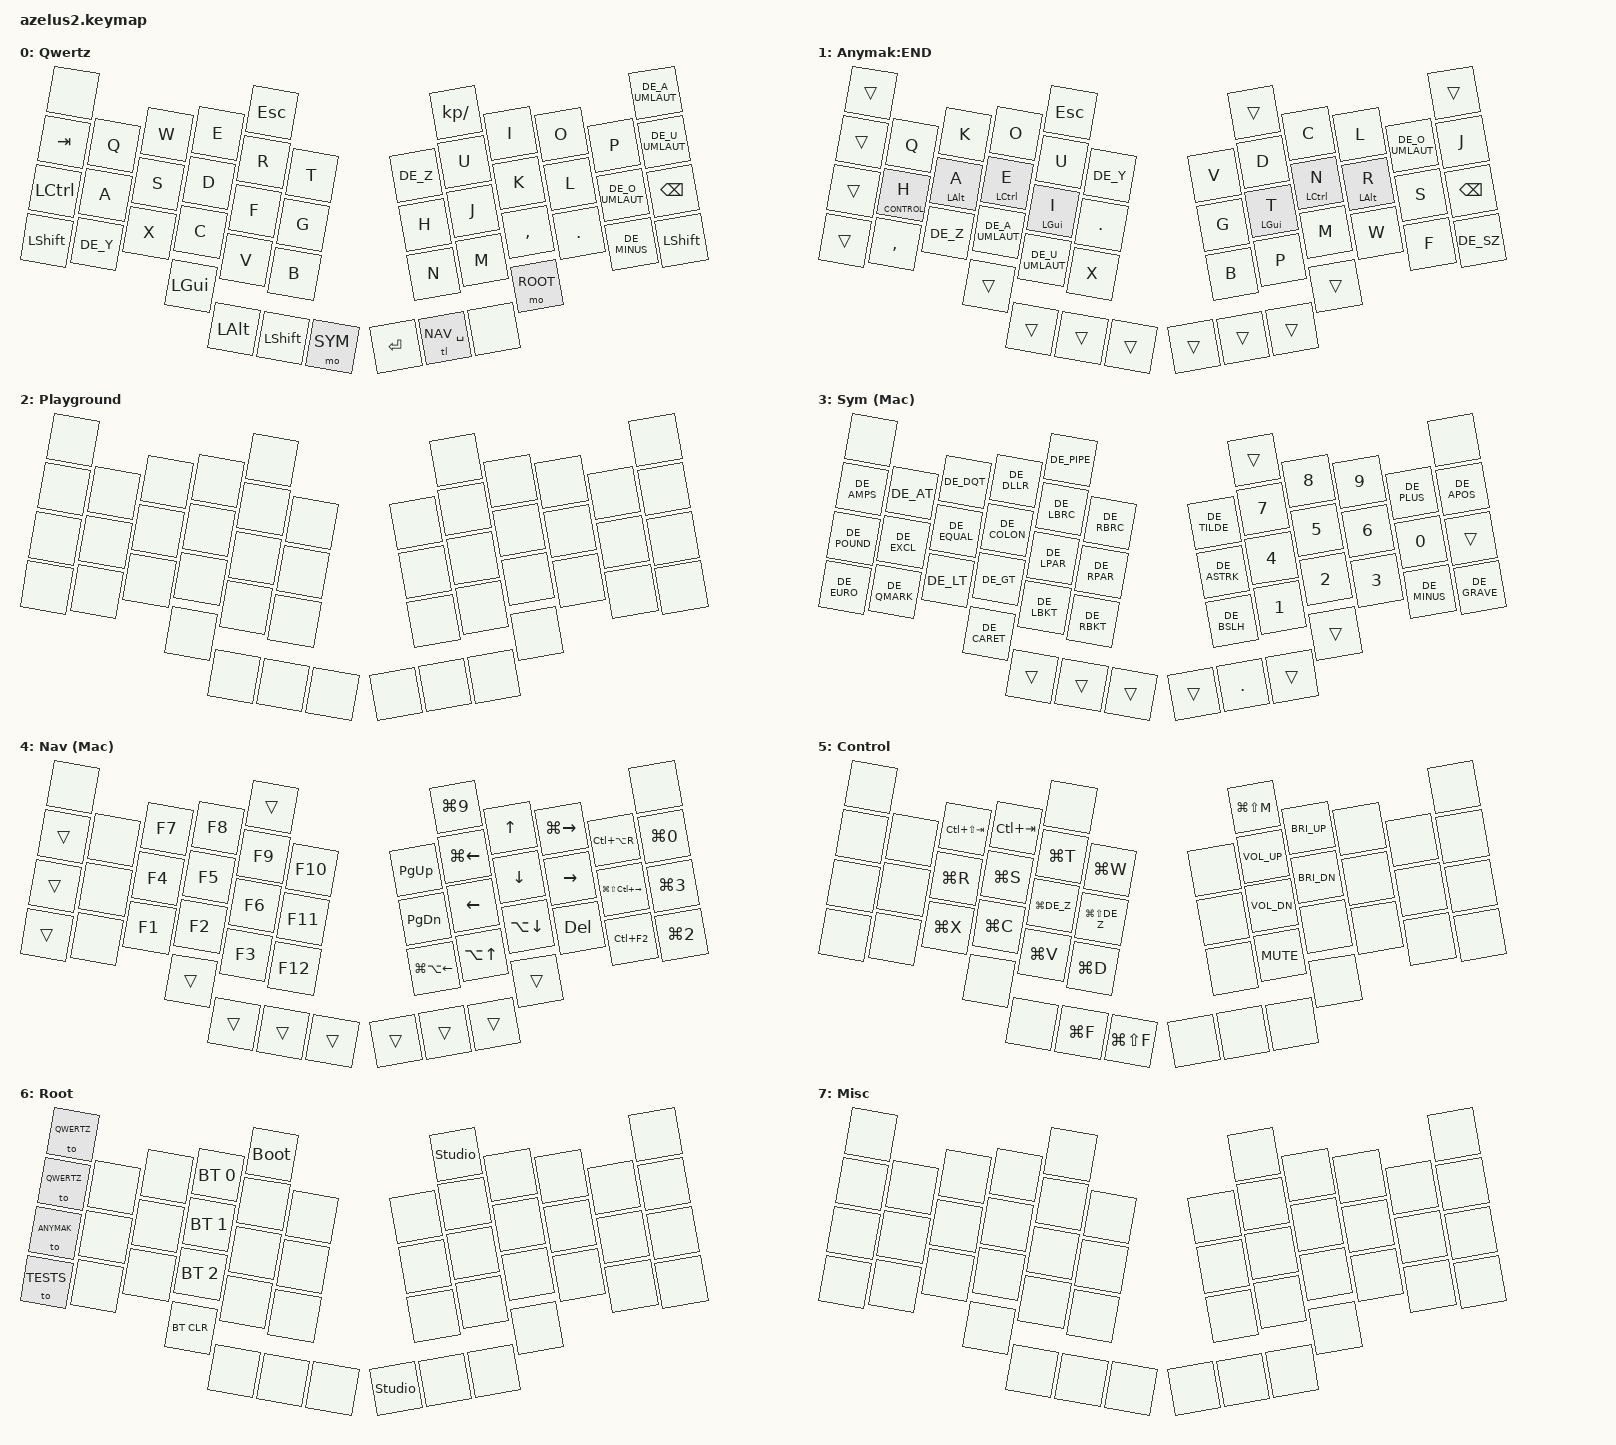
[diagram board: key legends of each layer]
#include <behaviors.dtsi>
#include <dt-bindings/zmk/bt.h>
#include <dt-bindings/zmk/keys.h>
#include "keys_de.h"
#include "key-labels.h"

#define QWERTZ  0
#define ANYMAK  1
#define TESTS   2
#define SYM     3
#define NAV     4
#define CONTROL 5
#define ROOT    6
#define MISC    7

#define xxxx &none
#define ____ &trans

#define KEYS_L LN2 LN6 LT1 LT2 LT3 LT4 LT5 LT6 LM1 LM2 LM3 LM4 LM5 LM6 LB1 LB2 LB3 LB4 LB5 LB6  // left hand
#define KEYS_R RN2 RN6 RT1 RT2 RT3 RT4 RT5 RT6 RM1 RM2 RM3 RM4 RM5 RM6 RB1 RB2 RB3 RB4 RB5 RB6  // right hand
#define THUMBS LH0 LH1 LH2 LH3 RH0 RH1 RH2 RH3                                                  // thumbs

#define COMBO_TIMEOUT 30  // default=50

/* use balanced flavor for both mod-tap and layer-tap */
&mt {
    flavor = "balanced";
};
&lt {
    flavor = "balanced";
};

/{
    behaviors {
         hmr: name {
             label = "HomeRowModR";
             compatible = "zmk,behavior-hold-tap";
             flavor = "balanced";
             tapping-term-ms = <280>;
             require-prior-idle-ms = <150>;
             hold-trigger-key-positions = <KEYS_R THUMBS>;
             hold-trigger-on-release;
             #binding-cells = <2>;
             bindings = <&kp>, <&kp>;
        };
    };
    behaviors {
         hml: name {
             label = "HomeRowModL";
             compatible = "zmk,behavior-hold-tap";
             flavor = "balanced";
             tapping-term-ms = <280>;
             require-prior-idle-ms = <150>;
             hold-trigger-key-positions = <KEYS_L THUMBS>;
             hold-trigger-on-release;
             #binding-cells = <2>;
             bindings = <&kp>, <&kp>;
         };
     };

    // Special (timerless) layer-tap. Triggers hold when right-hand keys are pressed to reduce misfires with backspace and arrows (on NAV layer).
    timerless_layer_tap {
         tllt: tllt {
             label = "Layer-Tap(tl)";
             compatible = "zmk,behavior-hold-tap";
             flavor = "hold-preferred"; // balanced, tap-preferred
             tapping-term-ms = <280>;
             quick-tap-ms = <150>;
             require-prior-idle-ms = <50>;
             hold-trigger-key-positions = <KEYS_R>;
             hold-trigger-on-release;
             #binding-cells = <2>;
             bindings = <&mo>, <&kp>;
        };
    };

    tap_dances {
        shifty: shift_caps_word {
            compatible = "zmk,behavior-tap-dance";
            label = "Shift_Capsword";
            #binding-cells = <0>;
            tapping-term-ms = <175>;
            bindings = <&kp LSHFT>, <&caps_word>;
        };
    };

};

#define SPACE_NAV       &tl NAV SPACE

// base
#define MUTE_MIC        &kp LG(LS(M))
#define TOG_DESK_LIGHT  &kp LG(LC(LA(E)))

// nav
#define APP_MENU        &kp LC(F2)
#define START_OF_LINE   &kp LG(LEFT)
#define END_OF_LINE     &kp LG(RIGHT)

#define IJ_NEXT_ERROR   &kp LG(LS(LC(RIGHT)))
#define IJ_RUN          &kp LC(LA(R))
#define IJ_NAV_BACK     &kp LG(LA(LEFT))
#define IJ_EXPAND_SEL   &kp LA(UP)
#define IJ_SHRINK_SEL   &kp LA(DOWN)
#define IJ_TERMINAL     &kp LG(N3)
#define IJ_PROJECT      &kp LG(N0)
#define IJ_EDITOR       &kp LG(N9)
#define IJ_COMMIT       &kp LG(N2)

// control
#define NEXT_TAB        &kp LC(LS(TAB))
#define PREV_TAB        &kp LC(TAB)
#define NEW_TAB         &kp LG(T)
#define CLOSE_TAB       &kp LG(W)

#define RELOAD          &kp LG(R)
#define SAVE            &kp LG(S)
#define UNDO            &kp LG(DE_Z)
#define REDO            &kp LG(LS(DE_Z))

#define FIND            &kp LG(F)
#define IJ_FIND         &kp LG(LS(F))
#define CUT             &kp LG(X)
#define COPY            &kp LG(C)
#define PASTE           &kp LG(V)
#define IJ_DEL_LINE     &kp LG(D)

/ {
    keymap {
        compatible = "zmk,keymap";


        base {
            bindings = <
xxxx                                  &kp ESC                                                          &kp KP_SLASH                                            &kp DE_A_UMLAUT
&kp TAB    &kp Q    &kp W   &kp E     &kp R      &kp T                                       &kp DE_Z  &kp U        &kp I        &kp O        &kp P            &kp DE_U_UMLAUT
&kp LCTRL  &kp A    &kp S   &kp D     &kp F      &kp G                                       &kp H     &kp J        &kp K        &kp L        &kp DE_O_UMLAUT  &kp BSPC
&kp LSHFT  &kp DE_Y &kp X   &kp C     &kp V      &kp B                                       &kp N     &kp M        &kp COMMA    &kp DOT      &kp DE_MINUS     &kp LSHFT
                            &kp LGUI  &kp LALT   &kp LSHFT  &mo SYM                &kp RET   SPACE_NAV xxxx         &mo ROOT
            >;
            display-name = "Qwertz";
        };

        base2 {
            bindings = <
____                                                      &kp ESC                                                                ____                                                         ____
____    &kp Q              &kp K         &kp O            &kp U            &kp DE_Y                                    &kp V     &kp D         &kp C          &kp L         &kp DE_O_UMLAUT   &kp J
____    &lt CONTROL H      &hml LALT A   &hml LCTRL E     &hml LGUI I      &kp DOT                                     &kp G     &hmr LGUI T   &hmr LCTRL N   &hmr LALT R   &kp S             &kp BSPC
____    &kp COMMA          &kp DE_Z      &kp DE_A_UMLAUT  &kp DE_U_UMLAUT  &kp X                                       &kp B     &kp P         &kp M          &kp W         &kp F             &kp DE_SZ
                                         ____             ____             ____     ____               ____    ____    ____      ____
            >;
            display-name = "Anymak:END";
        };


        base3 {
            bindings = <
 xxxx                     xxxx                                  xxxx                    xxxx
 xxxx   xxxx  xxxx  xxxx  xxxx  xxxx                      xxxx  xxxx  xxxx  xxxx  xxxx  xxxx
 xxxx   xxxx  xxxx  xxxx  xxxx  xxxx                      xxxx  xxxx  xxxx  xxxx  xxxx  xxxx
 xxxx   xxxx  xxxx  xxxx  xxxx  xxxx                      xxxx  xxxx  xxxx  xxxx  xxxx  xxxx
                    xxxx  xxxx  xxxx  xxxx          xxxx  xxxx  xxxx  xxxx
              >;
            display-name = "Playground";
        };

        sym {
            bindings = <
xxxx                                                        &kp DE_PIPE                                                                  ____                                     xxxx
&kp DE_AMPS  &kp DE_AT      &kp DE_DQT      &kp DE_DLLR     &kp DE_LBRC    &kp DE_RBRC                                   &kp DE_TILDE    &kp N7   &kp N8   &kp N9   &kp DE_PLUS   &kp DE_APOS
&kp DE_POUND &kp DE_EXCL    &kp DE_EQUAL    &kp DE_COLON    &kp DE_LPAR    &kp DE_RPAR                                   &kp DE_ASTRK    &kp N4   &kp N5   &kp N6   &kp N0        ____
&kp DE_EURO  &kp DE_QMARK   &kp DE_LT       &kp DE_GT       &kp DE_LBKT    &kp DE_RBKT                                   &kp DE_BSLH     &kp N1   &kp N2   &kp N3   &kp DE_MINUS  &kp DE_GRAVE
                                            &kp DE_CARET    ____           ____         ____             ____   &kp DOT  ____            ____
            >;
            display-name = "Sym (Mac)";
        };

        nav {
            bindings = <
xxxx                              ____                                                                &kp LG(N9)                                                                xxxx
                                                                                                         //IJ: Editor
____   xxxx   &kp F7    &kp F8    &kp F9    &kp F10                                &kp PG_UP          &kp LG(LEFT)     &kp UP           &kp LG(RIGHT)   &kp LC(LA(R))           &kp LG(N0)
                                                                                                         //StartOfLine                     //EndOfLine     //IJ: Run               //IJ: Project
____   xxxx   &kp F4    &kp F5    &kp F6    &kp F11                                &kp PG_DN          &kp LEFT         &kp DOWN         &kp RIGHT       &kp LG(LS(LC(RIGHT)))   &kp LG(N3)
                                                                                                                                                           //IJ: Next Error        //IJ: Terminal
____   xxxx   &kp F1    &kp F2    &kp F3    &kp F12                                &kp LG(LA(LEFT))   &kp LA(UP)       &kp LA(DOWN)     &kp DEL         &kp LC(F2)              &kp LG(N2)
                                                                                      //IJ: Nav back     //IJ: ExpandSel  //IJ: ShrinkSel                  // Menu                 //IJ: Commit
                        ____      ____      ____    ____              ____         ____               ____             ____
            >;
            display-name = "Nav (Mac)";

        };

        control {
            bindings = <
 xxxx                                 xxxx                                                             MUTE_MIC                                        xxxx
 xxxx    xxxx   NEXT_TAB   PREV_TAB   NEW_TAB    CLOSE_TAB                                   xxxx      &kp K_VOL_UP    &kp C_BRI_UP    xxxx    xxxx    xxxx
 xxxx    xxxx   RELOAD     SAVE       UNDO       REDO                                        xxxx      &kp K_VOL_DN    &kp C_BRI_DN    xxxx    xxxx    xxxx
 xxxx    xxxx   CUT        COPY       PASTE      IJ_DEL_LINE                                 xxxx      &kp K_MUTE      xxxx            xxxx    xxxx    xxxx
                           xxxx       xxxx       FIND         IJ_FIND                xxxx    xxxx      xxxx            xxxx
            >;
            display-name = "Control";
        };

        root {
            bindings = <
 &to QWERTZ                                      &bootloader                                                &studio_unlock              xxxx
 &to QWERTZ   xxxx    xxxx         &bt BT_SEL 0  xxxx         xxxx                                   xxxx   xxxx   xxxx   xxxx   xxxx   xxxx
 &to ANYMAK   xxxx    xxxx         &bt BT_SEL 1  xxxx         xxxx                                   xxxx   xxxx   xxxx   xxxx   xxxx   xxxx
 &to TESTS    xxxx    xxxx         &bt BT_SEL 2  xxxx         xxxx                                   xxxx   xxxx   xxxx   xxxx   xxxx   xxxx
                                   &bt BT_CLR    xxxx         xxxx    xxxx          &studio_unlock   xxxx   xxxx   xxxx
            >;
            display-name = "Root";
        };

        misc {
            bindings = <
 xxxx                     xxxx                                  xxxx                    xxxx
 xxxx   xxxx  xxxx  xxxx  xxxx  xxxx                      xxxx  xxxx  xxxx  xxxx  xxxx  xxxx
 xxxx   xxxx  xxxx  xxxx  xxxx  xxxx                      xxxx  xxxx  xxxx  xxxx  xxxx  xxxx
 xxxx   xxxx  xxxx  xxxx  xxxx  xxxx                      xxxx  xxxx  xxxx  xxxx  xxxx  xxxx
                    xxxx  xxxx  xxxx  xxxx          xxxx  xxxx  xxxx  xxxx
            >;
            display-name = "Misc";
        };

    };



    position_map {
        compatible = "zmk,physical-layout-position-map";
        complete;
        layout1: layout1 {
            physical-layout = <&physical_layout0>;
            positions = <LN6             LN2                   RN2             RN6>
                       ,<LT6 LT5 LT4 LT3 LT2 LT1           RT1 RT2 RT3 RT4 RT5 RT6>
                       ,<LM6 LM5 LM4 LM3 LM2 LM1           RM1 RM2 RM3 RM4 RM5 RM6>
                       ,<LB6 LB5 LB4 LB3 LB2 LB1           RB1 RB2 RB3 RB4 RB5 RB6>
                       ,<            LH3 LH2 LH1 LH0   RH0 RH1 RH2 RH3            >
            ;
            // <side> <row> <column>
            // <Left|Right>
            // <Number|Top|Middle|Bottom|tHumb>
        };
    };

    macros {
        bullet_point: bullet_point {
            compatible = "zmk,behavior-macro";
            #binding-cells = <0>;
            bindings
                = <&macro_tap &kp DE_ASTERISK &kp SPACE>
                ;
        };
    };

    #define COMBO_TIMEOUT 30  // default=50
    #define COMBO_TIMEOUT_VERTICAL 50

    #define COMBO(NAME, KEYS, BINDINGS, LAYERS) \
        NAME { \
            timeout-ms = <COMBO_TIMEOUT>; \
            layers = <LAYERS>; \
            key-positions = <KEYS>; \
            bindings = <BINDINGS>; \
        };

    // vertical combo
    #define VOMBO(NAME, KEYS, BINDINGS, LAYERS) \
        NAME { \
            timeout-ms = <COMBO_TIMEOUT_VERTICAL>; \
            layers = <LAYERS>; \
            key-positions = <KEYS>; \
            bindings = <BINDINGS>; \
        };

    combos {
        compatible = "zmk,combos";

        COMBO(cb_underscore,            RB3 RB4,    &kp LS(DE_MINUS),   ANYMAK  QWERTZ      TESTS      )

        COMBO(cb_sym_percent,           LT4 LT3,    &kp DE_PRCNT,                                   SYM)

        COMBO(cb_anymak_bullet_point,   RT3 RT4,    &bullet_point,      ANYMAK                      SYM)  // types "* " to create bullet points in most applications
        COMBO(cb_anymak_hyphen,         RM3 RM4,    &kp DE_MINUS,       ANYMAK                      SYM)

        VOMBO(cb_anymak_oe,             RT5 RM5,    &kp DE_O_UMLAUT,    ANYMAK)
        VOMBO(cb_anymak_sz,             RT4 RM4,    &kp DE_SZ,          ANYMAK)

        VOMBO(cb_anymak_ampersand,      LT5 LM5,    &kp DE_AMPS,        ANYMAK)
        VOMBO(cb_anymak_hash,           LM5 LB5,    &kp DE_POUND,       ANYMAK)
        VOMBO(cb_anymak_euro,           LM3 LB3,    &kp DE_EURO,        ANYMAK)

    };

/*
    conditional_layers {
        compatible = "zmk,conditional-layers";
        sym_tri_layer {
            if-layers = <LINUX SYM>;
            then-layer = <SYM_LIN>;
        };
    };
    */

    physical_layout0: default_layout {
        compatible = "zmk,physical-layout";
        display-name = "Physical Layout";
        transform = <&matrix_transform0>;
        kscan = <&kscan0>;
        keys =  <&key_physical_attrs 100 100    0    70      1000     700   450>
               ,<&key_physical_attrs 100 100  400    40      1000     700   450>
               ,<&key_physical_attrs 100 100  900    40    (-1000)    700   450>
               ,<&key_physical_attrs 100 100 1300    70    (-1000)    700   450>

               ,<&key_physical_attrs 100 100    0    170     1000     700   450>
               ,<&key_physical_attrs 100 100  100    160     1000     700   450>
               ,<&key_physical_attrs 100 100  200    120     1000     700   450>
               ,<&key_physical_attrs 100 100  300    100     1000     700   450>
               ,<&key_physical_attrs 100 100  400    140     1000     700   450>
               ,<&key_physical_attrs 100 100  500    150     1000     700   450>
               ,<&key_physical_attrs 100 100  800    150   (-1000)    700   450>
               ,<&key_physical_attrs 100 100  900    140   (-1000)    700   450>
               ,<&key_physical_attrs 100 100 1000    100   (-1000)    700   450>
               ,<&key_physical_attrs 100 100 1100    120   (-1000)    700   450>
               ,<&key_physical_attrs 100 100 1200    160   (-1000)    700   450>
               ,<&key_physical_attrs 100 100 1300    170   (-1000)    700   450>

               ,<&key_physical_attrs 100 100    0    270     1000     700   450>
               ,<&key_physical_attrs 100 100  100    260     1000     700   450>
               ,<&key_physical_attrs 100 100  200    220     1000     700   450>
               ,<&key_physical_attrs 100 100  300    200     1000     700   450>
               ,<&key_physical_attrs 100 100  400    240     1000     700   450>
               ,<&key_physical_attrs 100 100  500    250     1000     700   450>
               ,<&key_physical_attrs 100 100  800    250   (-1000)    700   450>
               ,<&key_physical_attrs 100 100  900    240   (-1000)    700   450>
               ,<&key_physical_attrs 100 100 1000    200   (-1000)    700   450>
               ,<&key_physical_attrs 100 100 1100    220   (-1000)    700   450>
               ,<&key_physical_attrs 100 100 1200    260   (-1000)    700   450>
               ,<&key_physical_attrs 100 100 1300    270   (-1000)    700   450>

               ,<&key_physical_attrs 100 100    0    370     1000     700   450>
               ,<&key_physical_attrs 100 100  100    360     1000     700   450>
               ,<&key_physical_attrs 100 100  200    320     1000     700   450>
               ,<&key_physical_attrs 100 100  300    300     1000     700   450>
               ,<&key_physical_attrs 100 100  400    340     1000     700   450>
               ,<&key_physical_attrs 100 100  500    350     1000     700   450>
               ,<&key_physical_attrs 100 100  800    350   (-1000)    700   450>
               ,<&key_physical_attrs 100 100  900    340   (-1000)    700   450>
               ,<&key_physical_attrs 100 100 1000    300   (-1000)    700   450>
               ,<&key_physical_attrs 100 100 1100    320   (-1000)    700   450>
               ,<&key_physical_attrs 100 100 1200    360   (-1000)    700   450>
               ,<&key_physical_attrs 100 100 1300    370   (-1000)    700   450>

               ,<&key_physical_attrs 100 100  300    410     1000     700   450>
               ,<&key_physical_attrs 100 100  400    480     1000     700   450>
               ,<&key_physical_attrs 100 100  500    480     1000     700   450>
               ,<&key_physical_attrs 100 100  600    480     1000     700   450>
               ,<&key_physical_attrs 100 100  700    480   (-1000)    700   450>
               ,<&key_physical_attrs 100 100  800    480   (-1000)    700   450>
               ,<&key_physical_attrs 100 100  900    480   (-1000)    700   450>
               ,<&key_physical_attrs 100 100 1000    410   (-1000)    700   450>
            ;
        };

};
